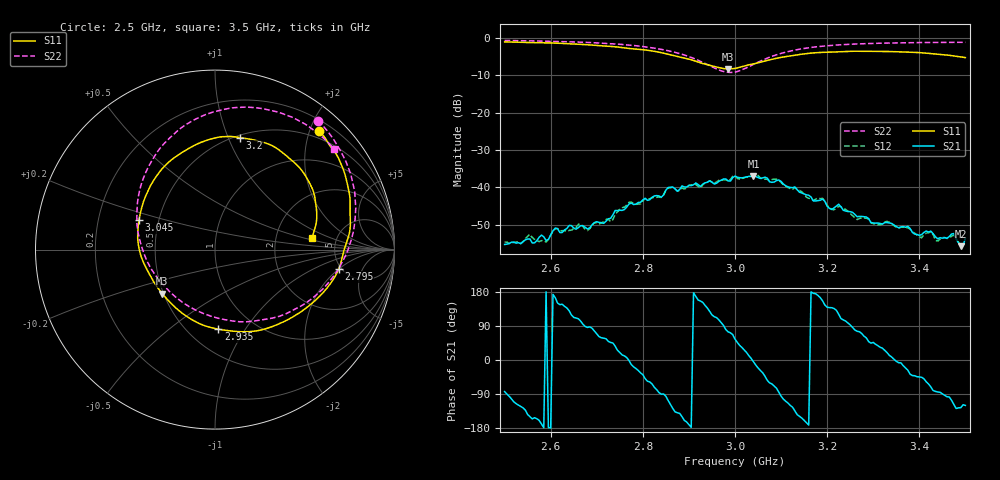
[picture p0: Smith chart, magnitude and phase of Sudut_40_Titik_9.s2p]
# Hz S RI R 50
! CMT, C1220, 16058040, 17.2.0/1
! Date: 15/08/2018 09:45:18
! Data: Format (Calibration Info)
! Freq  S11: Re/Im (F2)  S21: Re/Im (F2)  S12: Re/Im (F2)  S22: Re/Im (F2)
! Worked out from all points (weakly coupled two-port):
!   201 points, 2.5 GHz to 3.5 GHz, reference 50 ohm
!   highest |S21| = -36.91 dB at 3.04 GHz (marker M1); lowest = -55.7 dB at 3.49 GHz (marker M2)
!   lowest |S11| = -8.3 dB at 2.985 GHz (marker M3), VSWR 2.24, Z = 24.6 - j14.1 ohm
!   |S11| at or under -10 dB: nowhere
!   |S22| runs from -9.3 to -0.7 dB; largest |S21 - S12| = 0.0012
!   S11 on the Smith chart (normalised r, x): 2.5 GHz: 0.37, +2.16; 2.795 GHz: 4.76, -1.99; 2.935 GHz: 0.69, -0.76; 3.045 GHz: 0.39, +0.16; 3.2 GHz: 0.52, +1.10; 3.5 GHz: 3.26, +0.58
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2.5e9  0.5802 0.6614  0.000202 -0.00172  0.000229 -0.00186  0.5738 0.7184
2.535e9  0.6247 0.6036  -0.000956 -0.0015  -0.000992 -0.00147  0.6131 0.6757
2.555e9  0.6436 0.5741  -0.00177 -0.00104  -0.00199 -0.00127  0.6348 0.65
2.59e9  0.6883 0.5094  -0.00196 4.22e-06  -0.00185 -0.000126  0.6712 0.5976
2.61e9  0.7049 0.47  -0.00275 0.000784  -0.00271 0.000759  0.6916 0.5637
2.67e9  0.7479 0.3168  -0.00023 0.00307  -4.92e-06 0.00301  0.7471 0.446
2.795e9  0.6899 -0.1071  0.00526 -0.00353  0.00496 -0.0034  0.7655 0.0773
2.835e9  0.5879 -0.2547  0.000542 -0.00769  0.00078 -0.00742  0.7037 -0.0788
2.935e9  0.0184 -0.4434  -0.00935 0.00676  -0.00964 0.00637  0.2158 -0.3983
2.985e9  -0.2941 -0.2452  0.00328 0.0118  0.00283 0.0119  -0.1801 -0.2948
3e9  -0.361 -0.145  0.00812 0.0116  0.00879 0.0112  -0.2796 -0.2059
3.04e9  -0.4279 0.1301  0.0142 -0.00117  0.0147 -0.00061  -0.4298 0.0995
3.045e9  -0.4235 0.1643  0.0136 -0.00321  0.0146 -0.00326  -0.4348 0.1414
3.105e9  -0.252 0.4926  -0.00254 -0.0108  -0.00277 -0.0104  -0.3245 0.5401
3.17e9  0.0232 0.6269  -0.0066 0.000467  -0.00667 -0.000119  -0.0699 0.745
3.2e9  0.1381 0.6244  -0.00426 0.00366  -0.00419 0.00391  0.0426 0.7795
3.335e9  0.4857 0.4381  0.00327 0.000706  0.00337 0.000604  0.4159 0.7426
3.425e9  0.5626 0.2465  0.000847 -0.00247  0.00079 -0.00243  0.5709 0.6494
3.44e9  0.5667 0.2064  0.0002 -0.00205  0.000188 -0.00192  0.5928 0.6316
3.475e9  0.5579 0.1223  -0.00112 -0.00215  -0.000986 -0.0021  0.6354 0.5909
3.49e9  0.5466 0.0855  -0.000962 -0.00133  -0.00102 -0.00132  0.6528 0.5721
3.5e9  0.5392 0.0624  -0.00103 -0.0018  -0.00103 -0.00157  0.6641 0.5595
